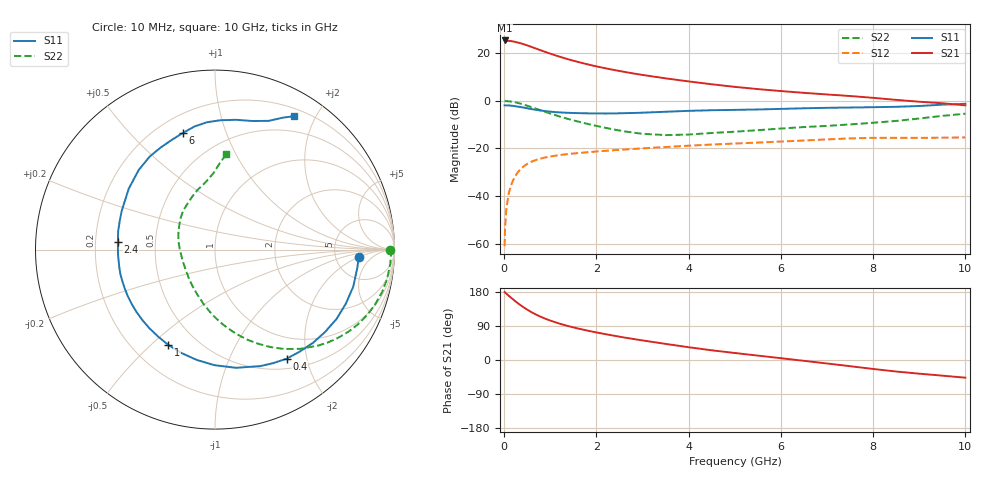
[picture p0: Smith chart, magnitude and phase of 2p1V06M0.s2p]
! (c) 2009  Infineon Technologies AG, Munich
! Infineon Technologies  Discrete & RF Semiconductors
! BFP420
! VCE =  1.0 V,  IC =  6.0 mA
! Common Emitter S-Parameters:  Nov 2009
# GHz  S  MA  R  50
!  f  S11  S21  S12  S22
! GHz  MAG  ANG  MAG  ANG  MAG  ANG  MAG  ANG
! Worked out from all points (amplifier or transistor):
!   46 points, 10 MHz to 10 GHz, reference 50 ohm
!   highest |S21| = 25.3 dB at 10 MHz (marker M1)
!   |S21| within 3 dB of that: start of sweep to 634.2 MHz
!   unconditionally stable (mu >= 1): 2.766 GHz to end of sweep
!   at 300 MHz: K = 0.12, MSG = 27.1 dB, |S12| = -29.9 dB
!   at 1.7 GHz: K = 0.67, MSG = 18.8 dB, |S12| = -21.7 dB
!   at 10 GHz: K = 1.10, MAG = 4.8 dB, |S12| = -15.4 dB
!   lowest NFmin = 0.70 dB at 900 MHz
!   S11 on the Smith chart (normalised r, x): 10 MHz: 8.67, -1.98; 400 MHz: 0.65, -1.66; 1 GHz: 0.35, -0.57; 2.4 GHz: 0.30, +0.03; 6 GHz: 0.30, +0.72; 10 GHz: 0.29, +1.72
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0.01  0.8026 -2.9  18.31 179.4  0.0009 119.5  0.9763 0.0
0.02  0.8018 -3.2  17.95 178.2  0.0022 89.4  0.9812 -1.8
0.05  0.7993 -7.3  17.99 174.7  0.0057 87.4  0.9797 -4.7
0.1  0.7975 -14.9  17.98 169.5  0.0115 82.3  0.973 -9.6
0.2  0.7799 -29.6  17.41 159.3  0.0223 75.0  0.943 -18.9
0.3  0.7536 -43.6  16.55 149.6  0.0321 68.2  0.8983 -27.7
0.4  0.7271 -56.7  15.52 140.8  0.0404 62.1  0.844 -35.6
0.5  0.6964 -68.8  14.41 132.9  0.0474 56.7  0.7863 -42.8
0.6  0.6687 -80.0  13.33 125.7  0.0532 52.1  0.7294 -49.3
0.7  0.6439 -90.3  12.29 119.4  0.0579 48.3  0.6753 -55.1
0.8  0.6228 -99.5  11.33 113.7  0.0618 45.1  0.6255 -60.3
1  0.5914 -116.1  9.701 104.1  0.068 40.0  0.5389 -69.6
1.3  0.5637 -136.0  7.834 92.5  0.0748 34.8  0.4394 -81.2
1.7  0.5474 -156.9  6.149 80.4  0.0818 30.4  0.3467 -94.9
2.4  0.5428 175.7  4.378 63.7  0.0924 25.2  0.2478 -118.2
3.5  0.5883 144.8  2.945 42.5  0.1074 18.8  0.1907 -161.6
4.5  0.6331 125.2  2.214 25.6  0.1209 12.8  0.2111 165.8
5.5  0.6565 111.7  1.754 11.6  0.1331 7.1  0.2416 145.4
6  0.6748 105.2  1.595 4.8  0.1397 4.2  0.2618 136.7
7  0.711 93.6  1.354 -9.2  0.1551 -2.9  0.2973 121.1
8.5  0.7465 73.7  1.043 -30.4  0.1673 -17.4  0.3777 98.2
10  0.8646 59.3  0.802 -46.7  0.1704 -26.6  0.5344 83.3
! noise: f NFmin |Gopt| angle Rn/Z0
0.9  0.7  0.16  29  0.14
1.8  1.08  0.06  113  0.12
2.4  1.17  0.11  132  0.13
3  1.26  0.17  176  0.11
4  1.43  0.31  -139  0.13
5  1.82  0.38  -115  0.24
6  2.3  0.43  -99  0.37
